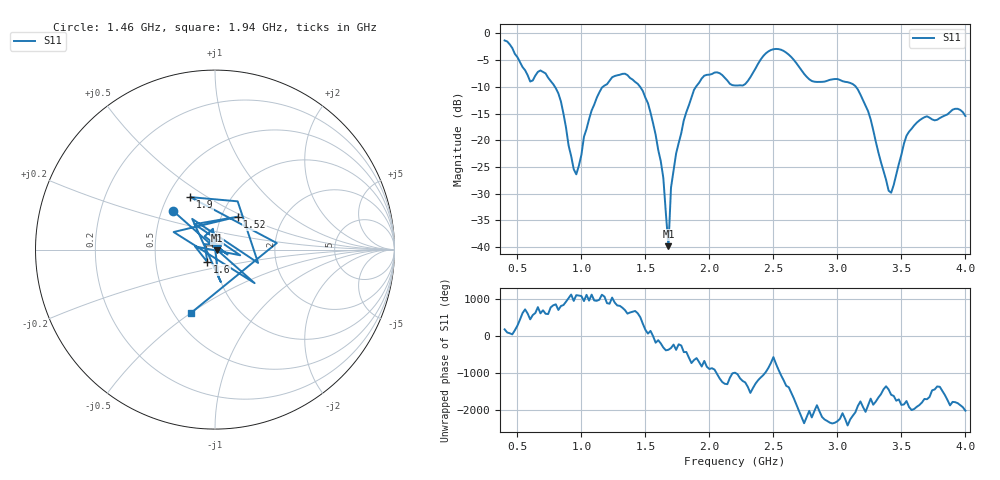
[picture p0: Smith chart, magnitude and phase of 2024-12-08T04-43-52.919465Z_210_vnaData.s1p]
!Created with skrf (http://scikit-rf.org).
# Hz S RI R 50.0
!freq ReS11 ImS11
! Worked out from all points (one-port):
!   181 points, 400 MHz to 4 GHz, reference 50 ohm
!   lowest |S11| = -39.8 dB at 1.68 GHz (marker M1), VSWR 1.02, Z = 51 - j0.345 ohm
!   |S11| at or under -10 dB: 793.4 MHz to 1.167 GHz (374.1 MHz wide, 38.2 % of centre); 1.459 GHz to 1.895 GHz (435.6 MHz wide, 26 % of centre); 3.145 GHz to end of sweep
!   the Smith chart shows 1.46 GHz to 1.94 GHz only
!   S11 on the Smith chart (normalised r, x): 1.46 GHz: 0.58, +0.27; 1.52 GHz: 1.19, +0.46; 1.6 GHz: 0.91, -0.13; 1.9 GHz: 0.65, +0.42; 1.94 GHz: 0.61, -0.50
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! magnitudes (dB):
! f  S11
! 400 MHz  -1.3
! 600 MHz  -9.0
! 720 MHz  -7.5
! 820 MHz  -11.2
! 860 MHz  -15.1
! 960 MHz  -26.4
! 1.12 GHz  -12.0
! 1.3 GHz  -7.7
! 1.46 GHz  -10.0
! 1.52 GHz  -13.1
! 1.6 GHz  -21.8
! 1.64 GHz  -27.1
! 1.68 GHz  -39.8
! 1.7 GHz  -28.9
! 1.76 GHz  -20.5
! 1.9 GHz  -9.8
! 1.94 GHz  -8.4
! 2.06 GHz  -7.3
! 2.2 GHz  -9.7
! 2.48 GHz  -3.1
! 2.66 GHz  -5.0
! 2.8 GHz  -8.9
! 3.1 GHz  -9.3
! 3.24 GHz  -14.6
! 3.42 GHz  -29.8
! 3.56 GHz  -18.4
! 3.7 GHz  -15.5
! 4 GHz  -15.5
